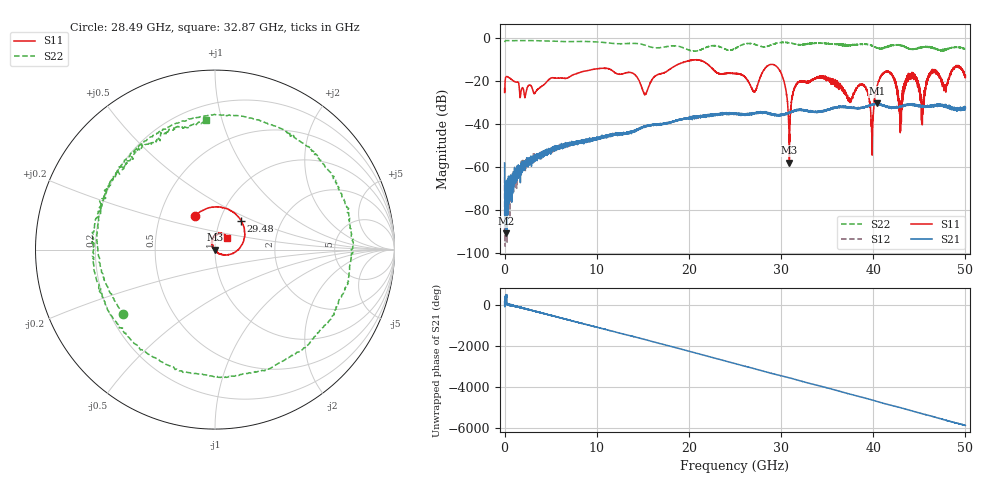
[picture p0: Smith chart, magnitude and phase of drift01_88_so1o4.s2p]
!Created with skrf (http://scikit-rf.org).
# Hz S RI R 50.0
!freq ReS11 ImS11 ReS21 ImS21 ReS12 ImS12 ReS22 ImS22
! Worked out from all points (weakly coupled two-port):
!   10001 points, 300 kHz to 50 GHz, reference 50 ohm
!   highest |S21| = -30.55 dB at 40.43 GHz (marker M1); lowest = -90.9 dB at 175.3 MHz (marker M2)
!   lowest |S11| = -58.0 dB at 30.9 GHz (marker M3), VSWR 1.00, Z = 50 - j0.117 ohm
!   |S11| at or under -10 dB: start of sweep to end of sweep
!   |S22| runs from -6.4 to -1.4 dB; largest |S21 - S12| = 0.0035
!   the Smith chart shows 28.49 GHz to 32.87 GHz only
!   S11 on the Smith chart (normalised r, x): 28.49 GHz: 0.75, +0.29; 29.48 GHz: 1.27, +0.42; 32.87 GHz: 1.13, +0.15
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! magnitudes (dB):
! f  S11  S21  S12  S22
! 300 kHz  -23.8  -58.2  -64.8  -2.1
! 175.3 MHz  -18.2  -90.9  -69.0  -1.4
! 2.915 GHz  -22.6  -59.7  -56.7  -1.4
! 8.335 GHz  -15.9  -48.7  -48.9  -1.8
! 15.23 GHz  -26.4  -41.4  -41.5  -3.5
! 16.67 GHz  -17.1  -40.3  -40.3  -4.8
! 25 GHz  -16.7  -35.3  -35.4  -5.1
! 27.1 GHz  -25.2  -35.3  -35.1  -3.1
! 28.49 GHz  -13.3  -34.9  -35.2  -4.1
! 29.48 GHz  -13.3  -36.1  -36.1  -2.7
! 30.9 GHz  -58.0  -34.8  -34.9  -2.5
! 32.87 GHz  -20.6  -34.1  -34.0  -2.8
! 33.34 GHz  -19.7  -34.5  -34.6  -2.7
! 38.92 GHz  -22.1  -32.2  -32.5  -3.0
! 39.86 GHz  -47.0  -31.1  -31.0  -3.7
! 40.43 GHz  -22.6  -30.5  -30.8  -4.9
! 41.67 GHz  -15.8  -32.2  -32.4  -4.3
! 42.92 GHz  -39.5  -32.1  -32.0  -3.7
! 44.03 GHz  -17.1  -30.9  -31.2  -5.4
! 45.31 GHz  -38.1  -32.0  -31.9  -4.4
! 46.42 GHz  -15.4  -32.1  -31.9  -4.8
! 50 GHz  -17.6  -32.5  -32.7  -5.3
